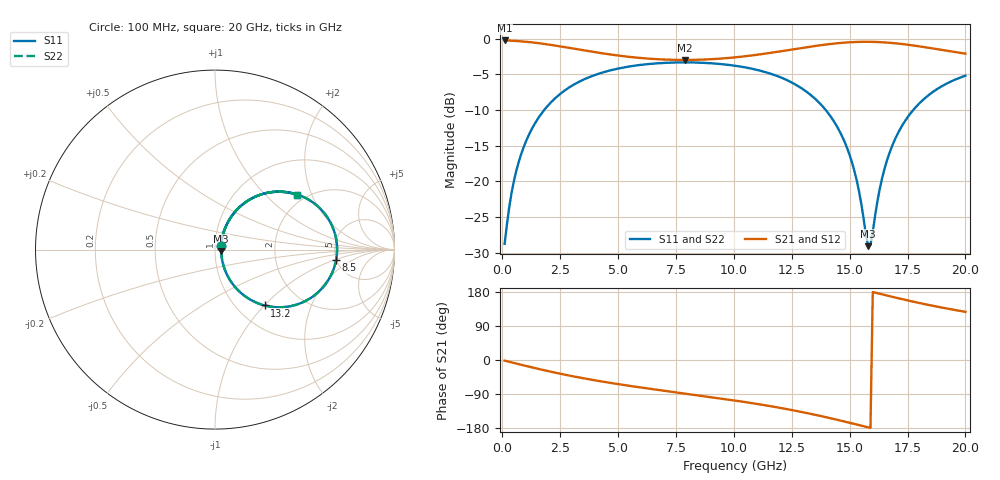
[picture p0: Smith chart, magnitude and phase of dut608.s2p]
! Touchstone file exported from HFSS 2026.1.0
!  File:  C:/ffzhzh/LocalFiles/Ansys_Project_Files/temp_train_TSV_RDL_608_1783122903_53076.aedt
!  Generated:  08:08:22 AM Jul  4, 2026
!  Design:  TSV_RDL
!  Project:  temp_train_TSV_RDL_608_1783122903_53076
! Variables:
!  h_bsmrdl = 3.22um
!  h_ox = 20um
!  h_rdl = 5um
!  h_sub = 62.69um
!  h_tmrdl = 3.53um
!  h_tsv = 62.69um
!  h_via = 3um
!  l_bsmrdl = 154.91um
!  l_sub = 3931.54um
!  l_tmrdl = 739.59um
!  m_sub = 200um
!  pitch = 54.35um
!  r_tsv = 2.25um
!  s_tmrdl = 10um
!  w_bsmrdl = 20.84um
!  w_sub = 500um
!  w_tmrdl = 15.31um
!  x_tsv_center1 = 747.245um
!  x_tsv_center2 = 922.995um
!  x_tsv_center3 = 1677.895um
!  x_tsv_center4 = 1853.645um
!  x_tsv_center5 = 2608.545um
!  x_tsv_center6 = 2784.295um
# GHz S MA R 50.000000
! Terminal data exported
! Port[1] = TM_RDL1_1_T1
! Port[2] = TM_RDL5_1_T1
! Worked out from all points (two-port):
!   200 points, 100 MHz to 20 GHz, reference 50 ohm
!   highest |S21| = -0.27 dB at 100 MHz (marker M1); lowest = -3.0 dB at 7.9 GHz (marker M2)
!   |S21| within 3 dB of the highest: start of sweep to end of sweep
!   lowest |S11| = -29.1 dB at 15.8 GHz (marker M3), VSWR 1.07, Z = 53.6 - j0.755 ohm
!   |S11| at or under -10 dB: start of sweep to 1.814 GHz; 13.96 GHz to 17.75 GHz (3.79 GHz wide, 23.9 % of centre)
!   |S22| runs from -29.1 to -3.3 dB; largest |S21 - S12| = 3.5e-14
!   S11 on the Smith chart (normalised r, x): 100 MHz: 1.06, +0.04; 8.5 GHz: 4.97, -1.04; 13.2 GHz: 1.33, -1.01; 20 GHz: 1.79, +1.57
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0.1  0.03645 30.8  0.969 -1.6  0.969 -1.6  0.03645 30.8
! Gamma 0 0 0 0
! Port Impedance 50 0 50 0
0.5  0.1001 63.2  0.9629 -7.8  0.9629 -7.8  0.1001 63.2
1.2  0.22 63.0  0.9426 -18.3  0.9426 -18.3  0.22 63.0
2.2  0.3705 52.7  0.8967 -32.3  0.8967 -32.3  0.3705 52.7
3.5  0.5145 38.5  0.8272 -48.2  0.8272 -48.2  0.5145 38.5
6.8  0.6719 8.7  0.7147 -79.5  0.7147 -79.5  0.6719 8.7
7.9  0.6803 -0.0  0.7076 -88.6  0.7076 -88.6  0.6803 -0.0
8.5  0.6775 -4.8  0.7102 -93.6  0.7102 -93.6  0.6775 -4.8
10.1  0.6429 -17.9  0.7393 -107.4  0.7393 -107.4  0.6429 -17.9
11.8  0.5514 -33.6  0.803 -124.1  0.803 -124.1  0.5514 -33.6
13.2  0.4168 -48.3  0.8715 -140.5  0.8715 -140.5  0.4168 -48.3
13.4  0.3923 -50.5  0.8812 -143.1  0.8812 -143.1  0.3923 -50.5
14.3  0.266 -60.1  0.9204 -155.4  0.9204 -155.4  0.266 -60.1
14.9  0.1695 -64.3  0.9387 -164.1  0.9387 -164.1  0.1695 -64.3
15.3  0.1025 -62.2  0.9459 -170.1  0.9459 -170.1  0.1025 -62.2
15.8  0.0351 -11.6  0.9484 -177.7  0.9484 -177.7  0.03522 -11.5
15.9  0.0358 16.2  0.948 -179.2  0.948 -179.2  0.03592 16.1
16.3  0.08828 60.7  0.9433 174.7  0.9433 174.7  0.08834 60.6
16.7  0.1543 64.9  0.9342 168.8  0.9342 168.8  0.1543 64.8
17.3  0.2501 61.4  0.9135 160.1  0.9135 160.1  0.2502 61.4
18  0.3499 54.4  0.8817 150.6  0.8817 150.6  0.3499 54.4
20  0.5488 33.8  0.783 127.1  0.783 127.1  0.5489 33.8
